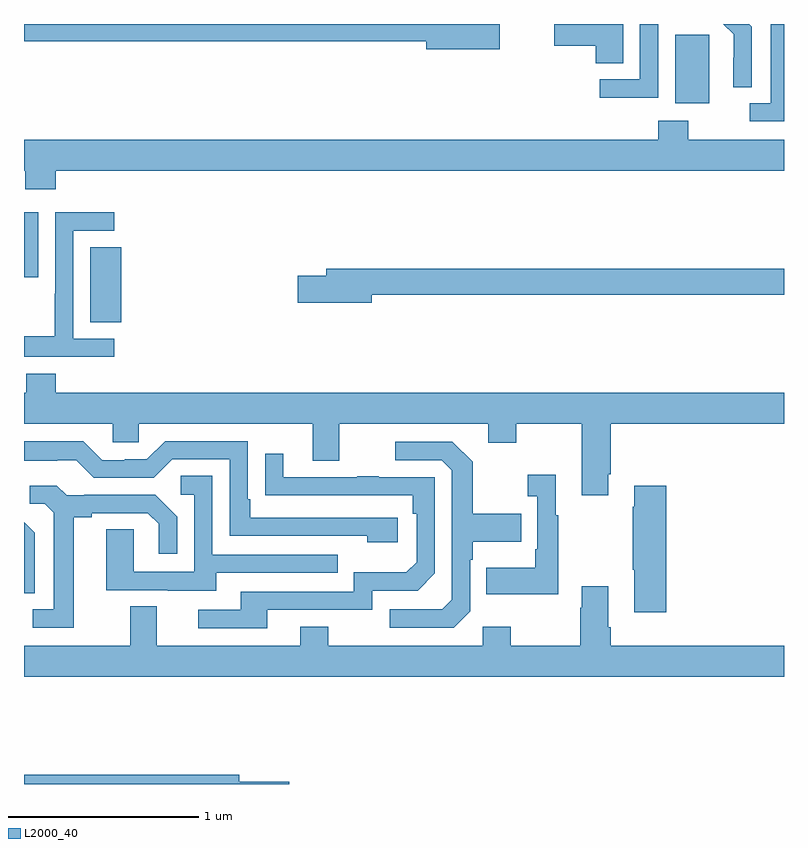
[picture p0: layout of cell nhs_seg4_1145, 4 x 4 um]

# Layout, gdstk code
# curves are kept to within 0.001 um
import gdstk
lib = gdstk.Library(unit=1e-6, precision=1e-09)
def R(c, l, rs):  # rectangles x0, y0, x1, y1
    for r in rs: c.add(gdstk.rectangle(r[:2], r[2:], *l))
def P(c, l, *ps):  # polygons
    for p in ps: c.add(gdstk.Polygon(p, *l))
L2000_40 = (2000, 40)

nhs_seg4_1145 = lib.new_cell('nhs_seg4_1145')
R(nhs_seg4_1145, L2000_40, [(169.349,821.329,169.513,821.726), (169,821.568,169.075,821.908), (172.427,822.482,172.606,822.843)])
P(nhs_seg4_1145, L2000_40, [(172.83,822.886),(172.816,822.9),(172.68,822.9),(172.736,822.845),(172.736,822.722),(172.734,822.722),(172.734,822.568),(172.83,822.568)],
  [(172.338,822.9),(172.242,822.9),(172.242,822.609),(172.029,822.609),(172.029,822.511),(172.338,822.511)],
  [(173,822.9),(172.931,822.9),(172.931,822.483),(172.821,822.483),(172.821,822.387),(173,822.387)],
  [(172.153,822.9),(171.792,822.9),(171.792,822.785),(172.01,822.785),(172.01,822.694),(172.153,822.694)],
  [(171.505,822.9),(169,822.9),(169,822.808),(171.116,822.808),(171.116,822.766),(171.505,822.766)],
  [(169.166,822.128),(173,822.128),(173,822.292),(172.497,822.292),(172.497,822.391),(172.337,822.391),(172.337,822.292),(169,822.292),(169,822.128),(169.006,822.128),(169.006,822.029),(169.166,822.029)],
  [(169.474,821.244),(169.26,821.244),(169.26,821.811),(169.474,821.811),(169.474,821.91),(169.164,821.91),(169.164,821.48),(169.162,821.48),(169.162,821.257),(169,821.257),(169,821.148),(169.474,821.148)],
  [(170.83,821.476),(173,821.476),(173,821.612),(170.591,821.612),(170.591,821.576),(170.442,821.576),(170.442,821.434),(170.83,821.434)],
  [(172.075,820.531),(172.088,820.531),(172.088,820.796),(173,820.796),(173,820.96),(169.166,820.96),(169.166,821.059),(169.013,821.059),(169.013,820.96),(169,820.96),(169,820.796),(169.467,820.796),(169.467,820.698),(169.605,820.698),(169.605,820.796),(170.519,820.796),(170.519,820.602),(170.659,820.602),(170.659,820.796),(171.443,820.796),(171.443,820.697),(171.591,820.697),(171.591,820.796),(171.935,820.796),(171.935,820.419),(172.075,820.419)],
  [(170.968,820.302),(170.191,820.302),(170.191,820.399),(170.178,820.399),(170.178,820.704),(169.743,820.704),(169.647,820.608),(169.529,820.608),(169.529,820.605),(169.413,820.605),(169.313,820.705),(169,820.705),(169,820.601),(169.175,820.601),(169.175,820.605),(169.275,820.605),(169.368,820.512),(169.683,820.512),(169.779,820.608),(170.082,820.608),(170.082,820.206),(170.807,820.206),(170.807,820.172),(170.968,820.172)],
  [(171.348,819.81),(171.348,820.079),(171.361,820.079),(171.361,820.175),(171.617,820.175),(171.617,820.323),(171.361,820.323),(171.361,820.595),(171.255,820.701),(170.955,820.701),(170.955,820.605),(171.198,820.605),(171.252,820.551),(171.252,819.87),(171.201,819.819),(170.925,819.819),(170.925,819.723),(171.261,819.723)],
  [(170.281,819.816),(170.832,819.816),(170.832,819.918),(171.072,819.918),(171.162,820.008),(171.162,820.515),(170.867,820.515),(170.867,820.52),(170.755,820.52),(170.755,820.515),(170.365,820.515),(170.365,820.639),(170.269,820.639),(170.269,820.42),(171.046,820.419),(171.046,820.322),(171.066,820.322),(171.066,820.068),(171.013,820.015),(170.736,820.015),(170.736,819.912),(170.141,819.912),(170.141,819.816),(169.917,819.816),(169.917,819.72),(170.281,819.72)],
  [(171.811,820.315),(171.799,820.315),(171.799,820.528),(171.651,820.528),(171.651,820.415),(171.702,820.415),(171.702,820.135),(171.69,820.135),(171.69,820.039),(171.433,820.039),(171.433,819.899),(171.811,819.899)],
  [(170.011,820.011),(170.651,820.011),(170.651,820.107),(169.992,820.107),(169.992,820.523),(169.824,820.523),(169.824,820.422),(169.896,820.422),(169.896,820.017),(169.578,820.017),(169.578,820.241),(169.433,820.241),(169.433,819.921),(169.757,819.921),(169.757,819.917),(170.011,819.917)],
  [(169.261,820.304),(169.357,820.304),(169.357,820.326),(169.652,820.326),(169.709,820.269),(169.709,820.113),(169.806,820.113),(169.806,820.306),(169.69,820.422),(169.318,820.422),(169.318,820.419),(169.224,820.419),(169.172,820.471),(169.029,820.471),(169.029,820.374),(169.11,820.374),(169.157,820.327),(169.157,819.819),(169.047,819.819),(169.047,819.723),(169.261,819.723)],
  [(172.379,820.471),(172.211,820.471),(172.211,820.358),(172.204,820.358),(172.204,820.027),(172.211,820.027),(172.211,819.804),(172.379,819.804)],
  [(169.056,820.222),(169,820.278),(169,819.904),(169.056,819.904)],
  [(173,819.628),(172.088,819.628),(172.088,819.724),(172.075,819.724),(172.075,819.94),(171.935,819.94),(171.935,819.827),(171.928,819.827),(171.928,819.628),(171.561,819.628),(171.561,819.727),(171.414,819.727),(171.414,819.628),(170.601,819.628),(170.601,819.727),(170.453,819.727),(170.453,819.628),(169.699,819.628),(169.699,819.836),(169.559,819.836),(169.559,819.628),(169,819.628),(169,819.464),(173,819.464)],
  [(170.395,818.912),(170.134,818.912),(170.134,818.948),(169,818.948),(169,818.9),(170.395,818.9)])

lib.write_gds('nhs_seg4_1145.gds')
